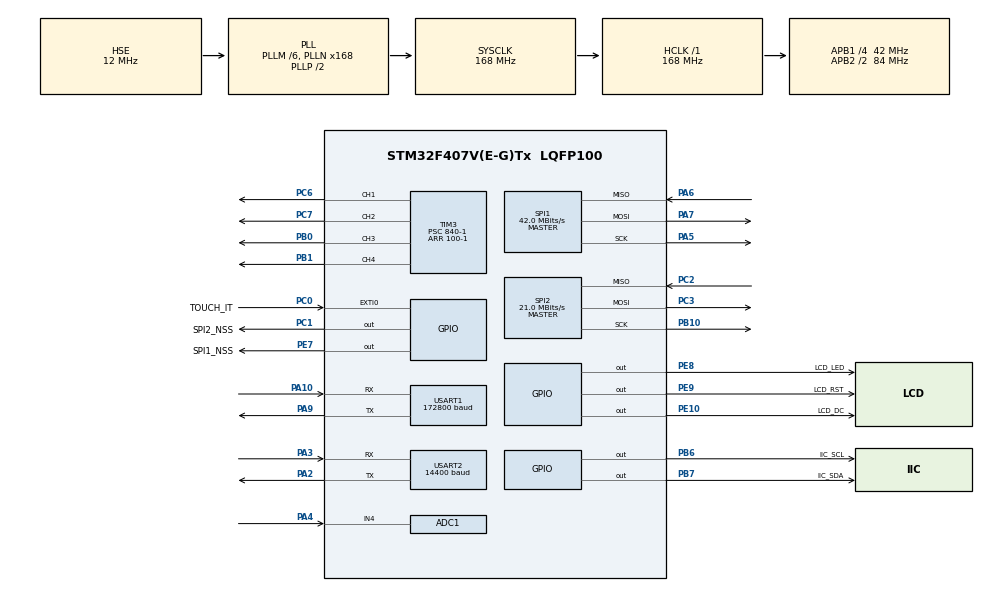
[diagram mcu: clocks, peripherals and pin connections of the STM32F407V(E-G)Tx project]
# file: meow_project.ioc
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ADC1.Channel-2\#ChannelRegularConversion=ADC_CHANNEL_4
ADC1.ClockPrescaler=ADC_CLOCK_SYNC_PCLK_DIV8
ADC1.ContinuousConvMode=ENABLE
ADC1.DMAContinuousRequests=ENABLE
ADC1.NbrOfConversionFlag=1
ADC1.Rank-2\#ChannelRegularConversion=1
ADC1.SamplingTime-2\#ChannelRegularConversion=ADC_SAMPLETIME_84CYCLES
ADC1.ScanConvMode=DISABLE
ADC1.master=1
Dma.ADC1.6.Direction=DMA_PERIPH_TO_MEMORY
Dma.ADC1.6.FIFOMode=DMA_FIFOMODE_DISABLE
Dma.ADC1.6.Instance=DMA2_Stream4
Dma.ADC1.6.MemDataAlignment=DMA_MDATAALIGN_HALFWORD
Dma.ADC1.6.MemInc=DMA_MINC_ENABLE
Dma.ADC1.6.Mode=DMA_NORMAL
Dma.ADC1.6.PeriphDataAlignment=DMA_PDATAALIGN_HALFWORD
Dma.ADC1.6.PeriphInc=DMA_PINC_DISABLE
Dma.ADC1.6.Priority=DMA_PRIORITY_LOW
Dma.Request0=USART1_RX
Dma.Request1=USART1_TX
Dma.Request2=USART2_RX
Dma.Request3=USART2_TX
Dma.Request4=SPI1_RX
Dma.Request5=SPI1_TX
Dma.Request6=ADC1
Dma.SPI1_RX.4.Direction=DMA_PERIPH_TO_MEMORY
Dma.SPI1_RX.4.FIFOMode=DMA_FIFOMODE_DISABLE
Dma.SPI1_RX.4.Instance=DMA2_Stream0
Dma.SPI1_RX.4.MemDataAlignment=DMA_MDATAALIGN_BYTE
Dma.SPI1_RX.4.MemInc=DMA_MINC_ENABLE
Dma.SPI1_RX.4.Mode=DMA_NORMAL
Dma.SPI1_RX.4.PeriphDataAlignment=DMA_PDATAALIGN_BYTE
Dma.SPI1_RX.4.PeriphInc=DMA_PINC_DISABLE
Dma.SPI1_RX.4.Priority=DMA_PRIORITY_LOW
Dma.SPI1_TX.5.Direction=DMA_MEMORY_TO_PERIPH
Dma.SPI1_TX.5.FIFOMode=DMA_FIFOMODE_DISABLE
Dma.SPI1_TX.5.Instance=DMA2_Stream3
Dma.SPI1_TX.5.MemDataAlignment=DMA_MDATAALIGN_BYTE
Dma.SPI1_TX.5.MemInc=DMA_MINC_ENABLE
Dma.SPI1_TX.5.Mode=DMA_NORMAL
Dma.SPI1_TX.5.PeriphDataAlignment=DMA_PDATAALIGN_BYTE
Dma.SPI1_TX.5.PeriphInc=DMA_PINC_DISABLE
Dma.SPI1_TX.5.Priority=DMA_PRIORITY_LOW
Dma.USART1_RX.0.Direction=DMA_PERIPH_TO_MEMORY
Dma.USART1_RX.0.FIFOMode=DMA_FIFOMODE_DISABLE
Dma.USART1_RX.0.Instance=DMA2_Stream2
Dma.USART1_RX.0.MemDataAlignment=DMA_MDATAALIGN_BYTE
Dma.USART1_RX.0.MemInc=DMA_MINC_ENABLE
Dma.USART1_RX.0.Mode=DMA_NORMAL
Dma.USART1_RX.0.PeriphDataAlignment=DMA_PDATAALIGN_BYTE
Dma.USART1_RX.0.PeriphInc=DMA_PINC_DISABLE
Dma.USART1_RX.0.Priority=DMA_PRIORITY_LOW
Dma.USART1_TX.1.Direction=DMA_MEMORY_TO_PERIPH
Dma.USART1_TX.1.FIFOMode=DMA_FIFOMODE_DISABLE
Dma.USART1_TX.1.Instance=DMA2_Stream7
Dma.USART1_TX.1.MemDataAlignment=DMA_MDATAALIGN_BYTE
Dma.USART1_TX.1.MemInc=DMA_MINC_ENABLE
Dma.USART1_TX.1.Mode=DMA_NORMAL
Dma.USART1_TX.1.PeriphDataAlignment=DMA_PDATAALIGN_BYTE
Dma.USART1_TX.1.PeriphInc=DMA_PINC_DISABLE
Dma.USART1_TX.1.Priority=DMA_PRIORITY_LOW
Dma.USART2_RX.2.Direction=DMA_PERIPH_TO_MEMORY
Dma.USART2_RX.2.FIFOMode=DMA_FIFOMODE_DISABLE
Dma.USART2_RX.2.Instance=DMA1_Stream5
Dma.USART2_RX.2.MemDataAlignment=DMA_MDATAALIGN_BYTE
Dma.USART2_RX.2.MemInc=DMA_MINC_ENABLE
Dma.USART2_RX.2.Mode=DMA_NORMAL
Dma.USART2_RX.2.PeriphDataAlignment=DMA_PDATAALIGN_BYTE
Dma.USART2_RX.2.PeriphInc=DMA_PINC_DISABLE
Dma.USART2_RX.2.Priority=DMA_PRIORITY_LOW
Dma.USART2_TX.3.Direction=DMA_MEMORY_TO_PERIPH
Dma.USART2_TX.3.FIFOMode=DMA_FIFOMODE_DISABLE
Dma.USART2_TX.3.Instance=DMA1_Stream6
Dma.USART2_TX.3.MemDataAlignment=DMA_MDATAALIGN_BYTE
Dma.USART2_TX.3.MemInc=DMA_MINC_ENABLE
Dma.USART2_TX.3.Mode=DMA_NORMAL
Dma.USART2_TX.3.PeriphDataAlignment=DMA_PDATAALIGN_BYTE
Dma.USART2_TX.3.PeriphInc=DMA_PINC_DISABLE
Dma.USART2_TX.3.Priority=DMA_PRIORITY_LOW
FREERTOS.Tasks01=defaultTask,24,128,StartDefaultTask,Default,NULL,Dynamic,NULL,NULL;sht30Task,24,128,StartSht30Task,Default,NULL,Dynamic,NULL,NULL;GUITask,24,128,StartGUITask,Default,NULL,Dynamic,NULL,NULL;ptcTask,24,128,StartptcTask,Default,NULL,Dynamic,NULL,NULL
Mcu.Family=STM32F4
Mcu.Name=STM32F407V(E-G)Tx
Mcu.Package=LQFP100
NVIC.ADC_IRQn=true\:5\:0\:false\:false\:true\:true\:true\:true\:true
NVIC.DMA1_Stream5_IRQn=true\:5\:0\:false\:false\:true\:true\:false\:true\:true
NVIC.DMA1_Stream6_IRQn=true\:5\:0\:false\:false\:true\:true\:false\:true\:true
NVIC.DMA2_Stream0_IRQn=true\:5\:0\:false\:false\:true\:true\:false\:true\:true
NVIC.DMA2_Stream2_IRQn=true\:5\:0\:false\:false\:true\:true\:false\:true\:true
NVIC.DMA2_Stream3_IRQn=true\:5\:0\:false\:false\:true\:true\:false\:true\:true
NVIC.DMA2_Stream4_IRQn=true\:5\:0\:false\:false\:true\:true\:false\:true\:true
NVIC.DMA2_Stream7_IRQn=true\:5\:0\:false\:false\:true\:true\:false\:true\:true
NVIC.EXTI0_IRQn=true\:5\:0\:false\:false\:true\:true\:true\:true\:true
NVIC.PriorityGroup=NVIC_PRIORITYGROUP_4
NVIC.SPI1_IRQn=true\:5\:0\:false\:false\:true\:true\:true\:true\:true
NVIC.SPI2_IRQn=true\:5\:0\:false\:false\:true\:true\:true\:true\:true
NVIC.TIM1_UP_TIM10_IRQn=true\:15\:0\:true\:false\:true\:false\:false\:true\:true
NVIC.TimeBase=TIM1_UP_TIM10_IRQn
NVIC.TimeBaseIP=TIM10
NVIC.USART1_IRQn=true\:5\:0\:false\:false\:true\:true\:true\:true\:true
NVIC.USART2_IRQn=true\:5\:0\:false\:false\:true\:true\:true\:true\:true
PA10.Mode=Asynchronous
PA10.Signal=USART1_RX
PA13.Mode=Serial_Wire
PA13.Signal=SYS_JTMS-SWDIO
PA14.Mode=Serial_Wire
PA14.Signal=SYS_JTCK-SWCLK
PA2.Mode=Asynchronous
PA2.Signal=USART2_TX
PA3.Mode=Asynchronous
PA3.Signal=USART2_RX
PA4.Signal=ADCx_IN4
PA5.Mode=Full_Duplex_Master
PA5.Signal=SPI1_SCK
PA6.Mode=Full_Duplex_Master
PA6.Signal=SPI1_MISO
PA7.Mode=Full_Duplex_Master
PA7.Signal=SPI1_MOSI
PA9.Mode=Asynchronous
PA9.Signal=USART1_TX
PB0.Signal=S_TIM3_CH3
PB1.Signal=S_TIM3_CH4
PB10.Mode=Full_Duplex_Master
PB10.Signal=SPI2_SCK
PB6.GPIO_Label=IIC_SCL
PB6.GPIO_Speed=GPIO_SPEED_FREQ_HIGH
PB6.PinState=GPIO_PIN_SET
PB6.Signal=GPIO_Output
PB7.GPIO_Label=IIC_SDA
PB7.GPIO_ModeDefaultOutputPP=GPIO_MODE_OUTPUT_OD
PB7.GPIO_PuPd=GPIO_NOPULL
PB7.GPIO_Speed=GPIO_SPEED_FREQ_HIGH
PB7.PinState=GPIO_PIN_SET
PB7.Signal=GPIO_Output
PC0.GPIO_Label=TOUCH_IT
PC0.GPIO_ModeDefaultEXTI=GPIO_MODE_IT_RISING_FALLING
PC0.Signal=GPXTI0
PC1.GPIO_Label=SPI2_NSS
PC1.Signal=GPIO_Output
PC2.Mode=Full_Duplex_Master
PC2.Signal=SPI2_MISO
PC3.Mode=Full_Duplex_Master
PC3.Signal=SPI2_MOSI
PC6.Signal=S_TIM3_CH1
PC7.Signal=S_TIM3_CH2
PE10.GPIO_Label=LCD_DC
PE10.Signal=GPIO_Output
PE7.GPIO_Label=SPI1_NSS
PE7.GPIO_Speed=GPIO_SPEED_FREQ_MEDIUM
PE7.Signal=GPIO_Output
PE8.GPIO_Label=LCD_LED
PE8.Signal=GPIO_Output
PE9.GPIO_Label=LCD_RST
PE9.Signal=GPIO_Output
PH0-OSC_IN.Mode=HSE-External-Oscillator
PH0-OSC_IN.Signal=RCC_OSC_IN
PH1-OSC_OUT.Mode=HSE-External-Oscillator
PH1-OSC_OUT.Signal=RCC_OSC_OUT
ProjectManager.HeapSize=0x200
ProjectManager.StackSize=0x400
ProjectManager.TargetToolchain=Makefile
RCC.48MHZClocksFreq_Value=84000000
RCC.AHBFreq_Value=168000000
RCC.APB1CLKDivider=RCC_HCLK_DIV4
RCC.APB1Freq_Value=42000000
RCC.APB1TimFreq_Value=84000000
RCC.APB2CLKDivider=RCC_HCLK_DIV2
RCC.APB2Freq_Value=84000000
RCC.APB2TimFreq_Value=168000000
RCC.CortexFreq_Value=168000000
RCC.HCLKFreq_Value=168000000
RCC.HSE_VALUE=12000000
RCC.HSI_VALUE=16000000
RCC.LSE_VALUE=32768
RCC.PLLM=6
RCC.PLLN=168
RCC.PLLSourceVirtual=RCC_PLLSOURCE_HSE
RCC.SYSCLKFreq_VALUE=168000000
RCC.SYSCLKSource=RCC_SYSCLKSOURCE_PLLCLK
RCC.VCOOutputFreq_Value=336000000
SH.ADCx_IN4.0=ADC1_IN4,IN4
SH.S_TIM3_CH1.0=TIM3_CH1,PWM Generation1 CH1
SH.S_TIM3_CH2.0=TIM3_CH2,PWM Generation2 CH2
SH.S_TIM3_CH3.0=TIM3_CH3,PWM Generation3 CH3
SH.S_TIM3_CH4.0=TIM3_CH4,PWM Generation4 CH4
SPI1.CalculateBaudRate=42.0 MBits/s
SPI1.Direction=SPI_DIRECTION_2LINES
SPI1.Mode=SPI_MODE_MASTER
SPI1.VirtualType=VM_MASTER
SPI2.CalculateBaudRate=21.0 MBits/s
SPI2.Direction=SPI_DIRECTION_2LINES
SPI2.Mode=SPI_MODE_MASTER
SPI2.VirtualType=VM_MASTER
TIM3.Channel-PWM\ Generation1\ CH1=TIM_CHANNEL_1
TIM3.Channel-PWM\ Generation2\ CH2=TIM_CHANNEL_2
TIM3.Channel-PWM\ Generation3\ CH3=TIM_CHANNEL_3
TIM3.Channel-PWM\ Generation4\ CH4=TIM_CHANNEL_4
TIM3.Period=100-1
TIM3.Prescaler=840-1
TIM6.Prescaler=84-1
TIM7.Prescaler=8400-1
USART1.BaudRate=172800
USART1.VirtualMode=VM_ASYNC
USART2.BaudRate=14400
USART2.VirtualMode=VM_ASYNC
VP_FREERTOS_VS_CMSIS_V2.Mode=CMSIS_V2
VP_SYS_VS_tim10.Mode=TIM10
VP_TIM3_VS_ClockSourceINT.Mode=Internal
VP_TIM6_VS_ClockSourceINT.Mode=Enable_Timer
VP_TIM7_VS_ClockSourceINT.Mode=Enable_Timer
board=custom

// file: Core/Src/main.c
/* USER CODE BEGIN Header */
/**
  ******************************************************************************
  * @file           : main.c
  * @brief          : Main program body
  ******************************************************************************
  * @attention
  *
  * Copyright (c) 2023 STMicroelectronics.
  * All rights reserved.
  *
  * This software is licensed under terms that can be found in the LICENSE file
  * in the root directory of this software component.
  * If no LICENSE file comes with this software, it is provided AS-IS.
  *
  ******************************************************************************
  */
/* USER CODE END Header */
#include "main.h"
#include "cmsis_os.h"
#include "adc.h"
#include "dma.h"
#include "spi.h"
#include "tim.h"
#include "usart.h"
#include "gpio.h"

/* USER CODE BEGIN Includes */
#include "string.h"

#include "myfunc.h"
#include "bsp_iic.h"

#include "instance.h"
#include "SHT_sensor.h"
#include "eeprom.h"
#include "lcd.h"
/* USER CODE END Includes */

/* USER CODE BEGIN PV */
uint8_t txbuffer[15] = {};
uint8_t rxbuffer[15] = {};

int trans = 0;
int rece = 0;

uint32_t time = 0;
uint32_t tick1 = 0;
uint32_t tick2 = 0;
/* USER CODE END PV */

void SystemClock_Config(void);
void MX_FREERTOS_Init(void);

int main(void)
{

  /* MCU Configuration--------------------------------------------------------*/

  /* Reset of all peripherals, Initializes the Flash interface and the Systick. */
  HAL_Init();

  /* Configure the system clock */
  SystemClock_Config();

  /* Initialize all configured peripherals */
  MX_GPIO_Init();
  MX_DMA_Init();
  MX_USART1_UART_Init();
  MX_ADC1_Init();
  MX_TIM6_Init();
  MX_TIM7_Init();
  MX_USART2_UART_Init();
  MX_TIM3_Init();
  MX_SPI1_Init();
  MX_SPI2_Init();
  /* USER CODE BEGIN 2 */

  Instance_Init();
  /* USER CODE END 2 */

  /* Init scheduler */
  osKernelInitialize();  /* Call init function for freertos objects (in freertos.c) */
  MX_FREERTOS_Init();

  /* Start scheduler */
  osKernelStart();

  /* We should never get here as control is now taken by the scheduler */
  /* Infinite loop */
  while (1)
  {

  }
}

void SystemClock_Config(void)
{
  RCC_OscInitTypeDef RCC_OscInitStruct = {0};
  RCC_ClkInitTypeDef RCC_ClkInitStruct = {0};

  /** Configure the main internal regulator output voltage
  */
  __HAL_RCC_PWR_CLK_ENABLE();
  __HAL_PWR_VOLTAGESCALING_CONFIG(PWR_REGULATOR_VOLTAGE_SCALE1);

  /** Initializes the RCC Oscillators according to the specified parameters
  * in the RCC_OscInitTypeDef structure.
  */
  RCC_OscInitStruct.OscillatorType = RCC_OSCILLATORTYPE_HSE;
  RCC_OscInitStruct.HSEState = RCC_HSE_ON;
  RCC_OscInitStruct.PLL.PLLState = RCC_PLL_ON;
  RCC_OscInitStruct.PLL.PLLSource = RCC_PLLSOURCE_HSE;
  RCC_OscInitStruct.PLL.PLLM = 6;
  RCC_OscInitStruct.PLL.PLLN = 168;
  RCC_OscInitStruct.PLL.PLLP = RCC_PLLP_DIV2;
  RCC_OscInitStruct.PLL.PLLQ = 4;
  if (HAL_RCC_OscConfig(&RCC_OscInitStruct) != HAL_OK)
  {
    Error_Handler();
  }

  /** Initializes the CPU, AHB and APB buses clocks
  */
  RCC_ClkInitStruct.ClockType = RCC_CLOCKTYPE_HCLK|RCC_CLOCKTYPE_SYSCLK
                              |RCC_CLOCKTYPE_PCLK1|RCC_CLOCKTYPE_PCLK2;
  RCC_ClkInitStruct.SYSCLKSource = RCC_SYSCLKSOURCE_PLLCLK;
  RCC_ClkInitStruct.AHBCLKDivider = RCC_SYSCLK_DIV1;
  RCC_ClkInitStruct.APB1CLKDivider = RCC_HCLK_DIV4;
  RCC_ClkInitStruct.APB2CLKDivider = RCC_HCLK_DIV2;

  if (HAL_RCC_ClockConfig(&RCC_ClkInitStruct, FLASH_LATENCY_5) != HAL_OK)
  {
    Error_Handler();
  }
}

void HAL_TIM_PeriodElapsedCallback(TIM_HandleTypeDef *htim)
{
  if (htim->Instance == TIM10) {
    HAL_IncTick();
  }
}

void Error_Handler(void)
{
  __disable_irq();
  while (1)
  {
  }
}

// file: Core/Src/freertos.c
/* USER CODE BEGIN Header */
/**
  ******************************************************************************
  * File Name          : freertos.c
  * Description        : Code for freertos applications
  ******************************************************************************
  * @attention
  *
  * Copyright (c) 2023 STMicroelectronics.
  * All rights reserved.
  *
  * This software is licensed under terms that can be found in the LICENSE file
  * in the root directory of this software component.
  * If no LICENSE file comes with this software, it is provided AS-IS.
  *
  ******************************************************************************
  */
/* USER CODE END Header */

#include "FreeRTOS.h"
#include "task.h"
#include "main.h"
#include "cmsis_os.h"

/* USER CODE BEGIN Includes */
#include "SHT_sensor.h"
#include "CO2_sensor.h"
#include "ui.h"
#include "UV_sensor.h"
#include "respi_send.h"
#include "ptc.h"
/* USER CODE END Includes */

/* Definitions for defaultTask */
osThreadId_t defaultTaskHandle;
const osThreadAttr_t defaultTask_attributes = {
  .name = "defaultTask",
  .stack_size = 128 * 4,
  .priority = (osPriority_t) osPriorityNormal,
};
/* Definitions for sht30Task */
osThreadId_t sht30TaskHandle;
const osThreadAttr_t sht30Task_attributes = {
  .name = "sht30Task",
  .stack_size = 128 * 4,
  .priority = (osPriority_t) osPriorityNormal,
};
/* Definitions for GUITask */
osThreadId_t GUITaskHandle;
const osThreadAttr_t GUITask_attributes = {
  .name = "GUITask",
  .stack_size = 128 * 4,
  .priority = (osPriority_t) osPriorityNormal,
};
/* Definitions for ptcTask */
osThreadId_t ptcTaskHandle;
const osThreadAttr_t ptcTask_attributes = {
  .name = "ptcTask",
  .stack_size = 128 * 4,
  .priority = (osPriority_t) osPriorityNormal,
};

void StartDefaultTask(void *argument);
void StartSht30Task(void *argument);
void StartGUITask(void *argument);
void StartptcTask(void *argument);

void MX_FREERTOS_Init(void); /* (MISRA C 2004 rule 8.1) */

void MX_FREERTOS_Init(void) {

  /* Create the thread(s) */
  /* creation of defaultTask */
  defaultTaskHandle = osThreadNew(StartDefaultTask, NULL, &defaultTask_attributes);

  /* creation of sht30Task */
  sht30TaskHandle = osThreadNew(StartSht30Task, NULL, &sht30Task_attributes);

  /* creation of GUITask */
  GUITaskHandle = osThreadNew(StartGUITask, NULL, &GUITask_attributes);

  /* creation of ptcTask */
  ptcTaskHandle = osThreadNew(StartptcTask, NULL, &ptcTask_attributes);

}

void StartDefaultTask(void *argument)
{
  /* USER CODE BEGIN StartDefaultTask */
  /* Infinite loop */
  portTickType defaultTime;
  defaultTime = xTaskGetTickCount();
  for(;;)
  {
    UV_task();
    CO2_monitor();
    respi_send();
    vTaskDelayUntil(&defaultTime, 1000);
  }
  /* USER CODE END StartDefaultTask */
}

void StartSht30Task(void *argument)
{
  /* USER CODE BEGIN StartSht30Task */
  /* Infinite loop */
  portTickType sht30_currentTime;
  sht30_currentTime = xTaskGetTickCount();
  for(;;)
  {
    sht_sensor_task();
    vTaskDelayUntil(&sht30_currentTime, 500);
  }
  /* USER CODE END StartSht30Task */
}

void StartGUITask(void *argument)
{
  /* USER CODE BEGIN StartGUITask */
  /* Infinite loop */
  portTickType GUI_currentTime;
  for(;;)
  {
    UI_task();
    vTaskDelayUntil(&GUI_currentTime, 500);
  }
  /* USER CODE END StartGUITask */
}

void StartptcTask(void *argument)
{
  /* USER CODE BEGIN StartptcTask */
  /* Infinite loop */
  portTickType GUI_currentTime;
  for(;;)
  {
    PTC_update();
    vTaskDelayUntil(&GUI_currentTime, 500);
  }
  /* USER CODE END StartptcTask */
}
